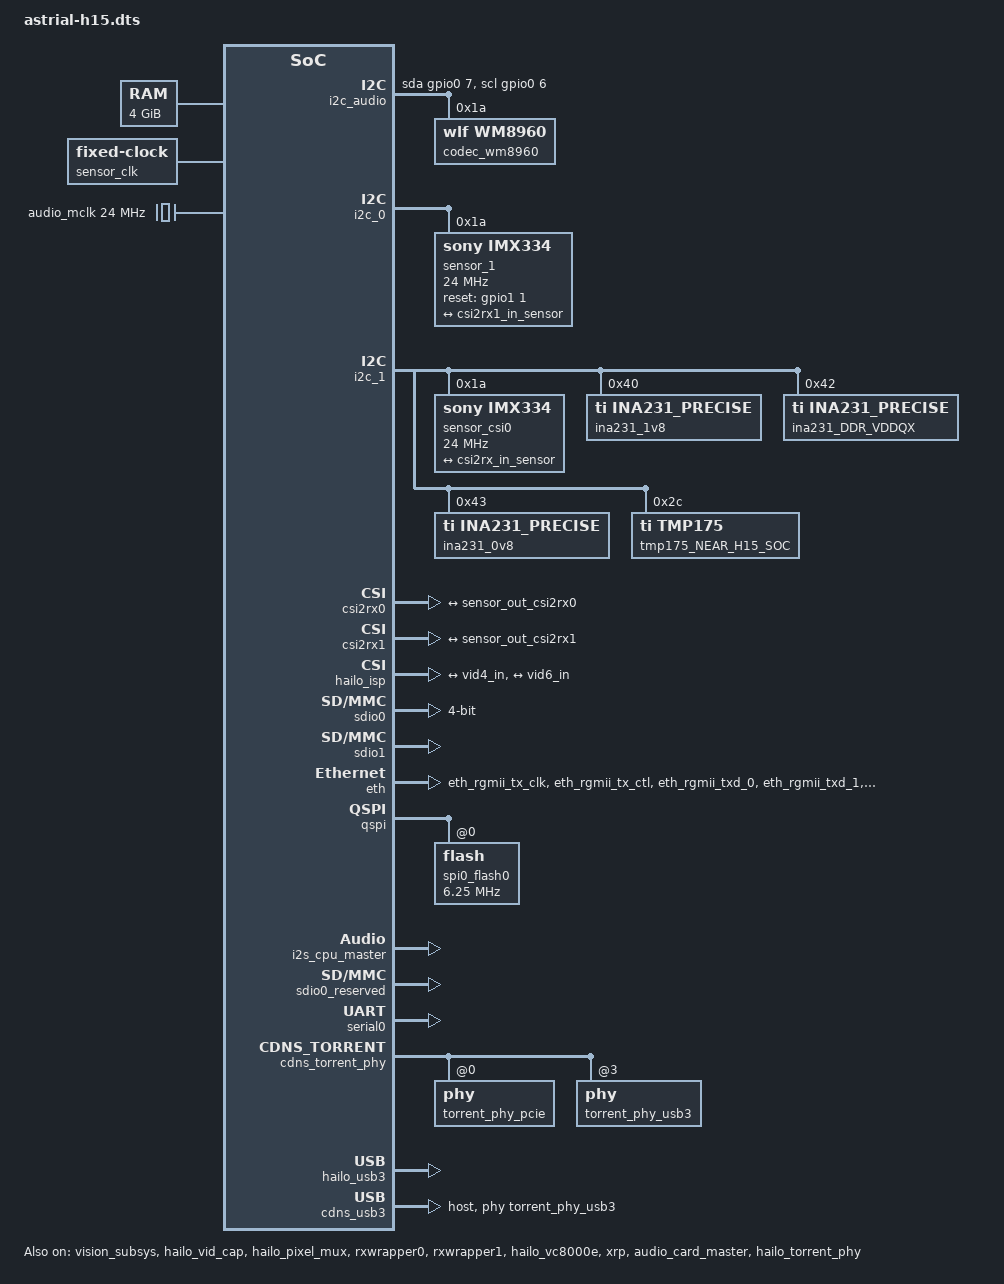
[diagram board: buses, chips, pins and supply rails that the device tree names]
// SPDX-License-Identifier:     GPL-2.0
/*
 * Copyright (c) 2019-2023 Hailo Technologies Ltd. All rights reserved.
 */

/dts-v1/;
#include "../hailo/hailo15-base.dtsi"
#include <dt-bindings/gpio/gpio.h>

/ {
    memory {
        device_type = "memory";
        reg = <0x00000000 0x80000000 0x00000001 0x00000000>;
    };
};

&i2c_0 {
    status = "ok";

    sensor_1: camera-sensor@1a {
        status = "ok";
        compatible = "sony,imx334", "sony,imx675", "sony,imx678", "sony,imx715";
        reg = <0x1a>;
        clocks = <&sensor_clk>;
        clock-names = "inclk";
        clock-frequency = <24000000>;
        csi-id = <1>;
        reset-gpios = <&gpio1 1 GPIO_ACTIVE_HIGH>;        
        port {
            sensor_out_csi2rx1: endpoint {
                data-lanes = <1 2 3 4>;
                remote-endpoint = <&csi2rx1_in_sensor>;
		        link-frequencies = /bits/ 64 <891000000 1440000000 1782000000>;
            };
        };
    };
};

&i2c_1 {
    status = "ok";

    sensor_csi0: camera-sensor@1a {
        status = "ok";
        compatible = "sony,imx334", "sony,imx675", "sony,imx678", "sony,imx715";
        reg = <0x1a>;
        clocks = <&sensor_clk>;
        clock-names = "inclk";
        clock-frequency = <24000000>;
        csi-id = <0>;
        port {
            sensor_out_csi2rx0: endpoint {
                data-lanes = <1 2 3 4>;
                remote-endpoint = <&csi2rx_in_sensor>;
                link-frequencies = /bits/ 64 <891000000 1440000000 1782000000>;
            };
        };
    };

    ina231_1v8: 1v8@40 {
        compatible = "ti,ina231_precise";
        reg = <0x40>;
        shunt-resistor = <100000>;
        max-current = <260>;
    };
    ina231_DDR_VDDQX: DDR_VDDQX@42 {
        compatible = "ti,ina231_precise";
        reg = <0x42>;
        shunt-resistor = <100000>;
        max-current = <170>;
    };
    ina231_0v8: 0v8@43 {
        compatible = "ti,ina231_precise";
        reg = <0x43>;
        shunt-resistor = <1000>;
        max-current = <11755>;
    };

    tmp175_NEAR_H15_SOC: NEAR_H15_SOC@2c {
        compatible = "ti,tmp175";
        reg = <0x2c>;
    };

    codec_tlv320aic3104: tlv320aic3104@18 {
        status = "disabled"; /* Not fitted on the custom Astrial carrier */
        #sound-dai-cells = <0>;
        compatible = "ti,tlv320aic3104";
        reg = <0x18>;
        ai3x-source-clk = "bclk";
        ai3x-micbias-vg = <2>;
		/* Regulators */
		AVDD-supply = <&regulator_3p3v>;
		IOVDD-supply = <&regulator_1p8v>;
		DRVDD-supply = <&regulator_3p3v>;
		DVDD-supply = <&regulator_1p8v>;
    };
};
&csi2rx0 {
    status = "ok";
    ports {
        port@0 {
            csi2rx_in_sensor: endpoint {
                remote-endpoint = <&sensor_out_csi2rx0>;
            };
        };
    };
};

&csi2rx1 {
    status = "ok";
    ports {
        port@0 {
            csi2rx1_in_sensor: endpoint {
                remote-endpoint = <&sensor_out_csi2rx1>;
            };
        };
    };
};

&vision_subsys {
    status = "okay";
};

&hailo_vid_cap {
    status = "ok";
    ports {
        // TODO: uncomment when ISP will support streaming from CSI-1
        port@4{
            reg = <HAILO15_VID_GRP_SX_CSI1_ISP_MP>;
            vid4_in: endpoint {
                reg = <HAILO15_VID_GRP_SX_CSI1_ISP_MP>;
                sink = <1>;
                path = <HAILO15_VID_GRP_SX_CSI1_ISP_MP>;
                remote-endpoint = <&isp_out_s1_vid4>;
            };
        };
        port@6{
            reg = <HAILO15_VID_GRP_SX_CSI1_ISP_SP>;
            vid6_in: endpoint {
                reg = <HAILO15_VID_GRP_SX_CSI1_ISP_SP>;
                sink = <1>;
                path = <HAILO15_VID_GRP_SX_CSI1_ISP_SP>;
                remote-endpoint = <&isp_out_s1_vid6>;
            };
        };
        port@5{
            reg = <HAILO15_VID_GRP_SX_CSI1_P2A>;
            vid5_in: endpoint {
                reg = <HAILO15_VID_GRP_SX_CSI1_P2A>;
                sink = <1>;
                path = <HAILO15_VID_GRP_SX_CSI1_P2A>;
                remote-endpoint = <&rxwrapper_out_csi1_sX>;
            };
        };
        port@50{
            reg = <HAILO15_VID_GRP_S0_CSI1_P2A>;
            vid50_in: endpoint {
                reg = <HAILO15_VID_GRP_S0_CSI1_P2A>;
                sink = <1>;
                path = <HAILO15_VID_GRP_S0_CSI1_P2A>;
                remote-endpoint = <&rxwrapper_out_csi1_s0>;
            };
        };
        port@51{
            reg = <HAILO15_VID_GRP_S1_CSI1_P2A>;
            vid51_in: endpoint {
                reg = <HAILO15_VID_GRP_S1_CSI1_P2A>;
                sink = <1>;
                path = <HAILO15_VID_GRP_S1_CSI1_P2A>;
                remote-endpoint = <&rxwrapper_out_csi1_s1>;
            };
        };
        port@52{
            reg = <HAILO15_VID_GRP_S2_CSI1_P2A>;
            vid52_in: endpoint {
                reg = <HAILO15_VID_GRP_S2_CSI1_P2A>;
                sink = <1>;
                path = <HAILO15_VID_GRP_S2_CSI1_P2A>;
                remote-endpoint = <&rxwrapper_out_csi1_s2>;
            };
        };
        port@53{
            reg = <HAILO15_VID_GRP_S3_CSI1_P2A>;
            vid53_in: endpoint {
                reg = <HAILO15_VID_GRP_S3_CSI1_P2A>;
                sink = <1>;
                path = <HAILO15_VID_GRP_S3_CSI1_P2A>;
                remote-endpoint = <&rxwrapper_out_csi1_s3>;
            };
        };
    };
};

// TODO: uncomment when ISP will support streaming from CSI-1
&hailo_isp {
    status = "ok";
    ports {
        port@4 {
            reg = <4>;
            isp_out_s1_vid4: endpoint {
                sink = <0>;
                remote-endpoint = <&vid4_in>;
            };
        };
        port@6 {
            reg = <6>;
            isp_out_s1_vid6: endpoint {
                sink = <0>;
                remote-endpoint = <&vid6_in>;
            };
        };
    };
};


&hailo_pixel_mux {
    status = "ok";
};

&rxwrapper0 {
    status = "ok";
};

&rxwrapper1 {
    status = "okay";
    ports {
        port@0 {
            rxwrapper1_in_mux: endpoint {
                remote-endpoint = <&mux_out_rxwrapper1>;
            };
        };
        port@1 {
            rxwrapper_out_csi1_sX: endpoint {
                remote-endpoint = <&vid5_in>;
            };
        };
        port@2 {
            rxwrapper_out_csi1_s0: endpoint {
                remote-endpoint = <&vid50_in>;
            };
        };
        port@3 {
            rxwrapper_out_csi1_s1: endpoint {
                remote-endpoint = <&vid51_in>;
            };
        };
        port@4 {
            rxwrapper_out_csi1_s2: endpoint {
                remote-endpoint = <&vid52_in>;
            };
        };
        port@5 {
            rxwrapper_out_csi1_s3: endpoint {
                remote-endpoint = <&vid53_in>;
            };
        };
        port@6 {
            rxwrapper1_out_isp: endpoint {
                remote-endpoint = <&isp_in_rxwrapper1>;
            };
        };
    };
};

&hailo_vc8000e {
    status = "ok";
};


&xrp {
    status = "okay";
};

&xrp_reserved {
    status = "okay";
};

&sdio0 {
    status = "ok";
    no-1-8-v;
    broken-cd;  // If you don't have a card detect pin
    sdhci-caps= <0 0x01000000>; // Force VOLT33 capability
    max-frequency = <50000000>; // Try limiting the frequency to 50MHz
    bus-width = <4>;           // Make sure we're using 4-bit mode
    pinctrl-names = "default";
    phy-config {
        card-is-emmc = <0x0>;  // It's an SD card, not eMMC
        cmd-pad-values = <0x1 0x3 0x1 0x1>; // txslew_ctrl_n, txslew_ctrl_p, weakpull_enable, rxsel
        dat-pad-values = <0x1 0x3 0x1 0x1>; // txslew_ctrl_n, txslew_ctrl_p, weakpull_enable, rxsel
        rst-pad-values = <0x1 0x3 0x1 0x1>; // txslew_ctrl_n, txslew_ctrl_p, weakpull_enable, rxsel
        clk-pad-values = <0x1 0x3 0x0 0x1>; // txslew_ctrl_n, txslew_ctrl_p, weakpull_enable, rxsel
        sdclkdl-cnfg = <0x0 0x32>; //extdly_en, cckdl_dc
        drive-strength = <0xC 0xC>; //pad_sp, pad_sn
    };
};

&sdio1 {
    status = "ok";
    broken-cd;
    sdhci-caps= <0 0x01000000>; // Force VOLT33 capability
    phy-config {
		card-is-emmc = <0x0>;
		cmd-pad-values = <0x1 0x3 0x1 0x1>; // txslew_ctrl_n, txslew_ctrl_p, weakpull_enable, rxsel
        	dat-pad-values = <0x1 0x3 0x1 0x1>; // txslew_ctrl_n, txslew_ctrl_p, weakpull_enable, rxsel
        	rst-pad-values = <0x1 0x3 0x1 0x1>; // txslew_ctrl_n, txslew_ctrl_p, weakpull_enable, rxsel
        	clk-pad-values = <0x1 0x3 0x0 0x1>; // txslew_ctrl_n, txslew_ctrl_p, weakpull_enable, rxsel
        	sdclkdl-cnfg = <0x0 0x32>; //extdly_en, cckdl_dc
        	drive-strength = <0xC 0xC>; //pad_sp, pad_sn
    };
};

&eth {
    status = "ok";
    pinctrl-names = "default";
    pinctrl-0 = <&pinctrl_eth>;
};

&qspi {
    status = "ok";

    spi0_flash0: flash@0 {
        /* values for MT25QU01G */
        spi-max-frequency = <6250000>; /* 90Mhz in DTR, 166Mhz in STR */
        cdns,read-delay = <7>;
        cdns,tshsl-ns = <30>;
        cdns,tsd2d-ns = <30>;
        cdns,tchsh-ns = <5>;
        cdns,tslch-ns = <3>;
    };
};

&i2s_cpu_master {
    status = "okay";
    rx-sample-pace-pattern-repetitions = <2>;
    rx-sample-pace = <64 64 64>;
    rx-sample-cmp-to = "prev-val";
    tx-sample-offset = <81>;
    tx-sample-pace = <63>;
};

&audio_card_master {
    status = "ok";
    simple-audio-card,name = "Astrial-WM8960";
    simple-audio-card,bitclock-master = <&cpu_dai_master>;
    simple-audio-card,frame-master = <&cpu_dai_master>;

    simple-audio-card,widgets =
        "Speaker", "Speaker",
        "Microphone", "Onboard Microphone";

    simple-audio-card,routing =
        "Speaker", "SPK_LP",
        "Speaker", "SPK_LN",
        "Speaker", "SPK_RP",
        "Speaker", "SPK_RN",
        "LINPUT1", "Onboard Microphone";

    cpu_dai_master: simple-audio-card,cpu {
        sound-dai = <&i2s_cpu_master>;
        system-clock-frequency = <1562500>;
        system-clock-direction-out;
    };

    codec_dai_master: simple-audio-card,codec {
        sound-dai = <&codec_wm8960>;
        system-clock-frequency = <24000000>;
    };
};

&audio_card_slave_tx {
    simple-audio-card,bitclock-master = <&codec_dai_tx>;
    simple-audio-card,frame-master = <&codec_dai_tx>;

    cpu_dai_tx: simple-audio-card,cpu {
        sound-dai = <&i2s_cpu_slave_tx>;
        system-clock-frequency = <12288000>;
    };
    codec_dai_tx: simple-audio-card,codec {
        sound-dai = <&codec_tlv320aic3104>;
        system-clock-frequency = <12288000>;
    };
};

&audio_card_slave_rx {
    simple-audio-card,bitclock-master = <&codec_dai_rx>;
    simple-audio-card,frame-master = <&codec_dai_rx>;

    cpu_dai_rx: simple-audio-card,cpu {
        sound-dai = <&i2s_cpu_slave_rx>;
        system-clock-frequency = <12288000>;
    };
    codec_dai_rx: simple-audio-card,codec {
        sound-dai = <&codec_tlv320aic3104>;
        system-clock-frequency = <12288000>;
    };
};

/ {
    sensor_clk: sensor_clk {
        compatible = "fixed-clock";
        #clock-cells = <0>;
        clock-frequency = <24000000>;
    };

    audio_mclk: audio-mclk {
        compatible = "fixed-clock";
        #clock-cells = <0>;
        clock-frequency = <24000000>;
        clock-output-names = "wm8960-mclk";
    };

    /*
     * TEMPORARY BRING-UP WORKAROUND - NOT FOR PERMANENT PRODUCTION USE.
     *
     * The current custom carrier swaps the two Astrial I2C3 pins:
     *
     * GPIO6 is connected to the physical SCL net.
     * GPIO7 is connected to the physical SDA net.
     *
     * Use a GPIO-bitbanged bus only to validate the WM8960 and the
     * surrounding audio hardware on this carrier revision.
     *
     * The permanent hardware solution is to route GPIO6 to SDA and
     * GPIO7 to SCL, then restore the hardware I2C3 controller.
     */
    i2c_audio: i2c-audio {
        compatible = "i2c-gpio";
        #address-cells = <1>;
        #size-cells = <0>;

        scl-gpios = <&gpio0 6
            (GPIO_ACTIVE_HIGH | GPIO_OPEN_DRAIN)>;
        sda-gpios = <&gpio0 7
            (GPIO_ACTIVE_HIGH | GPIO_OPEN_DRAIN)>;

        /*
         * A 5 us delay gives a nominal bus rate around 100 kHz,
         * sufficient for codec configuration and conservative for
         * the first board bring-up.
         */
        i2c-gpio,delay-us = <5>;
        i2c-gpio,timeout-ms = <100>;

        codec_wm8960: codec@1a {
            compatible = "wlf,wm8960";
            reg = <0x1a>;
            #sound-dai-cells = <0>;

            clocks = <&audio_mclk>;
            clock-names = "mclk";

            wlf,shared-lrclk;
            wlf,sysclk-auto;
        };
    };
};

&sdio0_reserved {
    status = "ok";
};

&serial0 {
 status = "ok";
};

&i2c_3 {
    /*
     * Temporarily disabled for the audio hardware validation workaround.
     * Restore this controller after correcting the carrier SDA/SCL routing.
     */
    status = "disabled";
};

&i2c_2 {
    /*
     * DSI temporarily disabled (2026-07-20) to free the shared pin set
     * (SoC pins 16-31) held by i2c2 for CAN/SPI-GPIO bring-up. See the
     * pinctrl_gpio_validation_set5 state under &gpio1. Re-enable to
     * restore the DSI touch panel path.
     */
    status = "disabled";
    clock-frequency = <400000>;
    pinctrl-names = "default";
    pinctrl-0 = <&pinctrl_i2c2>;
    gyro_lsm6dsr_2: lsm6dsr_2@6b {
        status = "disabled";
        compatible = "st,lsm6dsr";
        reg = <0x6b>;
        vdd-supply = <&regulator_1p8v>;
        vddio-supply = <&regulator_1p8v>;
        interrupt-parent = <&gpio1>;
        interrupts = <5 IRQ_TYPE_LEVEL_HIGH>;
        pinctrl-names = "default";
        pinctrl-0 = <&pinctrl_gpio21>;
    };

    gyro_icm42670_2: icm42670_2@69 {
        status = "disabled";
        compatible = "invensense,icm42670";
        reg = <0x69>;
        vdd-supply = <&regulator_1p8v>;
        vddio-supply = <&regulator_1p8v>;
        interrupt-parent = <&gpio1>;
        interrupts = <5 IRQ_TYPE_EDGE_RISING>;
        pinctrl-names = "default";
        pinctrl-0 = <&pinctrl_gpio21>;
	};	
	
    lcd@45 {
        status = "ok";
        compatible = "raspberrypi,7inch-touchscreen-panel";
        reg = <0x45>;
	pinctrl-names = "default";
	pinctrl-0 = <&pinctrl_pwm1>;        	
        port {
            panel_in: endpoint {
                remote-endpoint = <&dsi0_out>;
            };
        };
    };	
};

&dpi0 {
    status = "disabled";
};

&dphy0 {
    status = "disabled";
};


&dsi0 {
    status = "disabled";
    ports {
        port@0 {
            reg = <0>;
            dsi0_out: endpoint {
                remote-endpoint = <&panel_in>;
            };
        };
    };
};

&pinctrl {
    pinctrl_eth: eth {
        pins = "eth_rgmii_tx_clk",
               "eth_rgmii_tx_ctl",
               "eth_rgmii_txd_0",
               "eth_rgmii_txd_1",
               "eth_rgmii_txd_2",
               "eth_rgmii_txd_3";
        drive-strength = <2>;
    };
    
    pinctrl_pwm1: pwm1 {
        function = "pwm1";
        groups = "pwm1_grp";
    };

    pinctrl_i2c2: i2c2 {
        function = "i2c2";
        groups = "i2c2_1_grp";
    };

    pinctrl_i2c0_current_src_en_out: i2c0_current_src_en_out {
        function = "i2c0_current_src_en_out";
        groups = "i2c0_current_src_en_out_3_grp";
    };

    pinctrl_i2c1_current_src_en_out: i2c1_current_src_en_out {
        function = "i2c1_current_src_en_out";
        groups = "i2c1_current_src_en_out_4_grp";
    };

    pinctrl_i2c2_current_src_en_out: i2c2_current_src_en_out {
        function = "i2c2_current_src_en_out";
        groups = "i2c2_current_src_en_out_3_grp";
    };

    pinctrl_sdio0_gp_in: sdio0_gp_in {
        function = "sdio0_gp_in";
        groups = "sdio0_gp_in_grp";
    };

    pinctrl_sdio1_gp_in: sdio1_gp_in {
        function = "sdio1_gp_in";
        groups = "sdio1_gp_in_grp";
    };

    pinctrl_sdio0_CD_in: sdio0_CD_in {
        function = "sdio0_CD_in";
        groups = "sdio0_CD_in_grp";
    };

    pinctrl_sdio1_CD_in: sdio1_CD_in {
        function = "sdio1_CD_in";
        groups = "sdio1_CD_in_grp";
    };

    pinctrl_uart0_cts_rts: uart0_cts_rts {
        function = "uart0_cts_rts";
        groups = "uart0_cts_rts_1_grp";
    };

    pinctrl_usb_overcurrent_n_in: pinctrl_usb_overcurrent_n_in {
        function = "usb_overcurrent_in";
        groups = "usb_overcurrent_in_grp";
    };

    pinctrl_usb_drive_vbus_out: pinctrl_usb_drive_vbus_out {
        function = "usb_drive_vbus_out";
        groups = "usb_drive_vbus_out_2_grp";
    };

    pinctrl_gpio21: gpio21 {
        function = "gpio";
        groups = "gpio21_grp";
    };

    /*
     * CAN/mikroBUS bring-up (2026-07-20): settle pin set 31_16 (gpio1,
     * SoC pins 16-31) on mode "gpio" via the shared mode register.
     *
     * IMPORTANT (found on hardware): on this driver, naming a pin in a
     * function="gpio" group makes the gpio0/gpio1 controller itself
     * gpio_request() that exact line at probe time (visible as
     * "kernel ... [used]" in gpioinfo, and gpioset fails with -EINVAL:
     * "pin already requested by <this same controller>"). It is
     * effectively as sticky as gpio-hog, just via a different path.
     *
     * Fix: anchor on ONE throwaway pin per set (never used elsewhere).
     * The other pins in the same set still settle on mode 2 because
     * the mode register is shared set-wide -- confirmed via
     * /sys/kernel/debug/pinctrl/7c291000.pinctrl/pins (all of 16-31
     * read "current set mode: 2" even the ones with no "function name"
     * tag) -- but only the named anchor pin itself gets claimed, so
     * gpio18/19/24/25/31 stay genuinely "unused" and available for
     * gpioset / a future spi-gpio node. See &gpio1 below.
     */
    pinctrl_gpio_validation_set5: gpio-validation-set5 {
        function = "gpio";
        groups = "gpio16_grp";
    };

    /*
     * Same fix for pin set 15_8 (gpio0, SoC pins 8-15), freed by
     * dropping the USB overcurrent/vbus pinctrl claim on &cdns_usb3
     * (pins 11/12). Anchored on pin 8 (never used elsewhere) instead of
     * naming 9/10/13 directly, for the same reason as set5 above.
     * NOTE: this also settles the mode for pin 15 (today "mpp res out",
     * the PCIe reset) -- it becomes a plain GPIO for this boot, so PCIe
     * reset is inactive. Acceptable since PCIe isn't under test without
     * an M.2 module fitted.
     */
    pinctrl_gpio_validation_set4: gpio-validation-set4 {
        function = "gpio";
        groups = "gpio8_grp";
    };
};

#define GPIO_LINE_NAMES \
    "SPI_CS2",                  "SPI_CS3",                  "DSI_RST",                  "CAM_TRIG", \
    "cam0_reset_n",             "cam1_reset_n",             "audio_i2c_scl",            "audio_i2c_sda", \
    "gpio_in_out_8",            "sdio0_gp_in",              "sdio0_cd_in",              "usb_overcurrent_n_in", \
    "usb_drive_vbus_out",       "sdio1_gp_in",              "sdio1_cd_in_n",            "RVSD", \
    \
    "gpio_in_out_16",           "WiFi_BT_disable_n",        "timer_ext_in0",            "timer_ext_in1", \
    "shut_down_out",            "user_LED",                 "i2c2_sda_in_out",          "i2c2_scl_out", \
    "i2c2_current_src_en_out",  "i2c0_current_src_en_out",  "i2c1_current_src_en_out",  "gpio_in_out_27", \
    "gpio_in_out_28",           "DSI_INTR",                 "uart0_cts_pad_in",         "uart0_rts_pad_out"

&gpio0 {
    gpio-ranges = <&pinctrl 0 0 16>;

    gpio-line-names = GPIO_LINE_NAMES;

    pinctrl-names = "default";
    pinctrl-0 = <&pinctrl_gpio_validation_set4>;
};

&gpio1 {
    gpio-ranges = <&pinctrl 0 16 16>;

    gpio-line-names = GPIO_LINE_NAMES;

    /*
     * Deterministic mode-2 (gpio) selection for pin set 31_16 (SoC pins
     * 16-31), freed by disabling &i2c_2 above. pinctrl_gpio_validation_set5
     * (see &pinctrl) anchors on pin 16 only, on purpose -- naming 18/19/
     * 24/25/31 directly here made THIS controller gpio_request() them at
     * probe time (confirmed on hardware). With only pin 16 named, the
     * rest of the set still lands on mode 2 (shared register) but stays
     * genuinely "unused" in gpioinfo, available for gpioset today and a
     * future spi-gpio node later:
     *   GPIO18 = CS_CAN     (J1-49)
     *   GPIO19 = spare      (J1-26, 40PH only)
     *   GPIO24 = SPI1_MOSI  (J1-44)
     *   GPIO25 = SPI1_SCLK  (J1-38)
     *   GPIO31 = spare      (J1-41, 40PH only)
     * Added 2026-07-20 for CAN/spi-gpio bring-up; remove if DSI (&i2c_2)
     * is restored. NOTE: once a spi-gpio node exists for SCK/MOSI/MISO/CS
     * it will claim these lines itself -- validate with gpioset first,
     * in a separate boot, before adding spi-gpio.
     */
    pinctrl-names = "default";
    pinctrl-0 = <&pinctrl_gpio_validation_set5>;
};

&hailo_torrent_phy {
    status = "okay";
    usb-lane = <3>;
    usb-lane-pma-pll-full-rate-divider = <PCI_PMA_PLL_FULL_RATE_CLK_DIVIDER_4>;
    lanes-config = <PCI_PHY_LINK_LANES_CFG__2x1_PLUS_1x2__MASTER_LANES_LN0_LN2_LN3>;
};

&cdns_torrent_phy {
    torrent_phy_pcie: phy@0 {
        reg = <0>;
        resets = <&scmi_reset HAILO15_SCMI_RESET_IDX_PCIE_PHY_LANE_0>, <&scmi_reset HAILO15_SCMI_RESET_IDX_PCIE_PHY_LANE_1>;
        #phy-cells = <0>;
        cdns,phy-type = <PHY_TYPE_PCIE>;
        cdns,num-lanes = <2>;
    };
    torrent_phy_usb3: phy@3 {
        reg = <3>;
        resets = <&scmi_reset HAILO15_SCMI_RESET_IDX_PCIE_PHY_LANE_3>;
        #phy-cells = <0>;
        cdns,phy-type = <PHY_TYPE_USB3>;
        cdns,num-lanes = <1>;
        cdns,ssc-mode = <TORRENT_SERDES_NO_SSC>;
    };
};

&hailo_usb3 {
    status = "okay";
    hailo,force-drive-vbus;
};

&cdns_usb3 {
    /*
     * USB overcurrent/VBUS GPIO pinctrl temporarily dropped (2026-07-20)
     * to free SoC pins 11/12 (same pin set as pin 15, PCIe reset) for
     * CAN/SPI-GPIO bring-up. hailo,force-drive-vbus on &hailo_usb3 is
     * untouched -- that is an internal controller flag, not a pin claim.
     * USB1 is not testable via the carrier's data routing anyway.
     */
    dr_mode = "host";
    phys = <&torrent_phy_usb3>;
    phy-names = "cdns3,usb3-phy";
};
